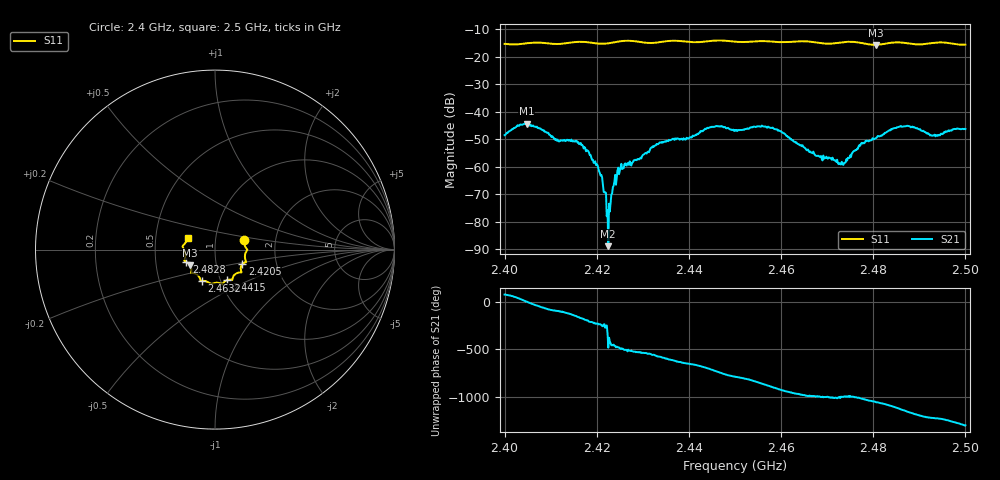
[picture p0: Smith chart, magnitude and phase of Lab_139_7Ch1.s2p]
# Hz S RI R 50
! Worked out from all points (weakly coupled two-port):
!   601 points, 2.4 GHz to 2.5 GHz, reference 50 ohm
!   highest |S21| = -44.41 dB at 2.4048 GHz (marker M1); lowest = -89.0 dB at 2.4225 GHz (marker M2)
!   lowest |S11| = -15.7 dB at 2.4805 GHz (marker M3), VSWR 1.39, Z = 37.3 - j6.68 ohm
!   |S11| at or under -10 dB: start of sweep to end of sweep
!   S12 and S22 are empty: the file has one direction only
!   S11 on the Smith chart (normalised r, x): 2.4 GHz: 1.38, +0.15; 2.4205 GHz: 1.34, -0.22; 2.4415 GHz: 1.07, -0.38; 2.4632 GHz: 0.82, -0.29; 2.4828 GHz: 0.72, -0.10; 2.5 GHz: 0.73, +0.10
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2.4e9  0.1632 0.0517  0.000582 0.00368  0 0  0 0
2.404833e9  0.1752 0.00539  0.00599 0.000621  0 0  0 0
2.416667e9  0.1729 -0.0696  -0.0024 -0.00049  0 0  0 0
2.4205e9  0.1519 -0.0815  -0.000499 0.000658  0 0  0 0
2.4225e9  0.1435 -0.0999  -1.82e-05 -3.06e-05  0 0  0 0
2.424167e9  0.1444 -0.1159  -0.000218 -0.000413  0 0  0 0
2.425e9  0.1462 -0.1216  -0.00052 -0.000643  0 0  0 0
2.433333e9  0.1005 -0.1515  -0.0021 0.00148  0 0  0 0
2.4415e9  0.0655 -0.1706  0.0021 0.00317  0 0  0 0
2.4455e9  0.0424 -0.1912  0.00528 -0.000378  0 0  0 0
2.45e9  0.0242 -0.1859  0.00187 -0.00426  0 0  0 0
2.457667e9  -0.0293 -0.1867  -0.00499 -0.000776  0 0  0 0
2.463167e9  -0.0732 -0.174  -0.00109 0.00249  0 0  0 0
2.466667e9  -0.0819 -0.167  0.000135 0.00177  0 0  0 0
2.473333e9  -0.1285 -0.1304  0.000202 0.00112  0 0  0 0
2.477333e9  -0.1309 -0.1203  0.00122 0.00231  0 0  0 0
2.4805e9  -0.139 -0.0871  0.00297 0.00139  0 0  0 0
2.482833e9  -0.1589 -0.07  0.00419 -0.000153  0 0  0 0
2.483333e9  -0.1627 -0.0682  0.00443 -0.000785  0 0  0 0
2.4875e9  -0.1673 -0.0513  0.00102 -0.00541  0 0  0 0
2.494e9  -0.1806 0.015  -0.00311 -0.00185  0 0  0 0
2.5e9  -0.1526 0.0645  -0.00361 0.00319  0 0  0 0
